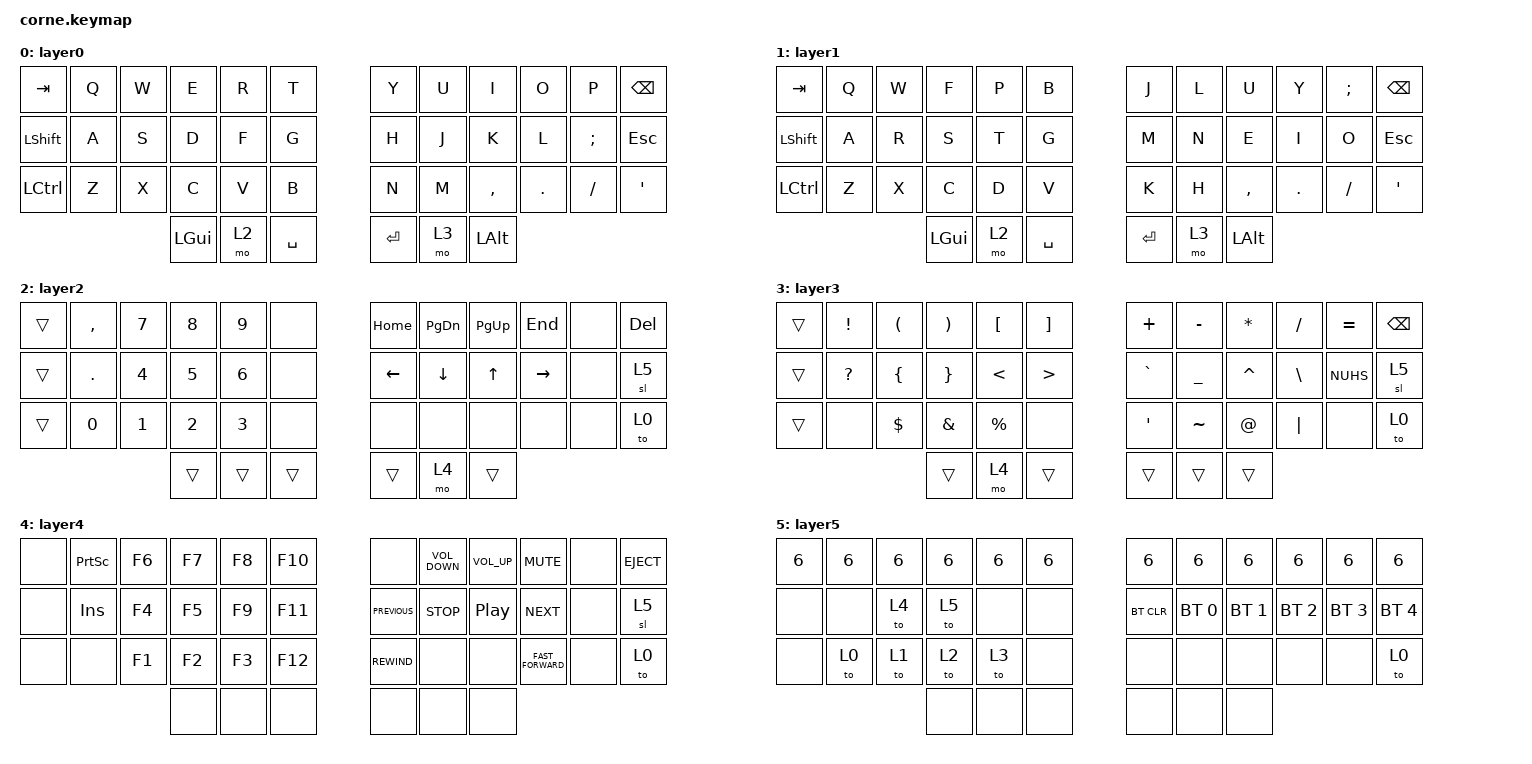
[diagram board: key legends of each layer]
/*
 * Copyright (c) 2020 The ZMK Contributors
 *
 * SPDX-License-Identifier: MIT
 */

#include <behaviors.dtsi>
#include <dt-bindings/zmk/bt.h>
#include <dt-bindings/zmk/ext_power.h>
#include <dt-bindings/zmk/keys.h>
#include <dt-bindings/zmk/mouse.h>
#include <dt-bindings/zmk/outputs.h>

 
&mmv {    
        time-to-max-speed-ms = <500>;
        acceleration-exponent=<1>;
};
&mwh {    
        time-to-max-speed-ms = <2000>;
        acceleration-exponent=<0>;
}; 
/ {
        combos{
                compatible = "zmk,combos";
                combo_spc {
                        timeout-ms = <50>;
                        key-positions = <13 16>;
                        bindings = <&kp SPACE>;
                        layers = <7>;
                };
                combo_p {
                        timeout-ms = <50>;
                        key-positions = <1 2>;
                        bindings = <&kp P>;
                        layers = <7>;
                };
                combo_o {
                        timeout-ms = <50>;
                        key-positions = <2 3>;
                        bindings = <&kp O>;
                        layers = <7>;
                };
                combo_h {
                        timeout-ms = <50>;
                        key-positions = <2 4>;
                        bindings = <&kp H>;
                        layers = <7>;
                };
                combo_k {
                        timeout-ms = <50>;
                        key-positions = <3 4>;
                        bindings = <&kp K>;
                        layers = <7>;
                };
                combo_y {
                        timeout-ms = <50>;
                        key-positions = <1 4>;
                        bindings = <&kp Y>;
                        layers = <7>;
                };
                combo_u {
                        timeout-ms = <50>;
                        key-positions = <13 15>;
                        bindings = <&kp U>;
                        layers = <7>;
                };
                combo_l {
                        timeout-ms = <50>;
                        key-positions = <25 26>;
                        bindings = <&kp L>;
                        layers = <7>;
                };
                combo_meta {
                        timeout-ms = <50>;
                        key-positions = <15 16>;
                        bindings = <&to LGUI>;
                        layers = <7>;
                };
                combo_alt {
                        timeout-ms = <50>;
                        key-positions = <14 16>;
                        bindings = <&to LALT>;
                        layers = <7>;
                };
                combo_bksp {
                        timeout-ms = <50>;
                        key-positions = <15 28>;
                        bindings = <&kp BSPC>;
                        layers = <7>;
                };
                combo_del {
                        timeout-ms = <50>;
                        key-positions = <16 27>;
                        bindings = <&kp DEL>;
                        layers = <7>;
                };
                combo_n {
                        timeout-ms = <50>;
                        key-positions = <26 27>;
                        bindings = <&kp N>;
                        layers = <7>;
                };
                combo_i {
                        timeout-ms = <50>;
                        key-positions = <27 28>;
                        bindings = <&kp I>;
                        layers = <7>;
                };
                combo_j {
                        timeout-ms = <50>;
                        key-positions = <26 28>;
                        bindings = <&kp J>;
                        layers = <7>;
                };
                combo_m {
                        timeout-ms = <50>;
                        key-positions = <25 28>;
                        bindings = <&kp M>;
                        layers = <7>;
                };
        };
};
/ {
        behaviors {
                mtt: mod_tap_tap {
                        compatible = "zmk,behavior-hold-tap";
                        label = "MOD_TAP_TAP";
                        #binding-cells = <2>;
                        flavor = "tap-preferred"; //was hold-preferred
                        tapping-term-ms = <150>;
                        quick-tap-ms = <200>;
                        bindings = <&kp>, <&kp>;
                };
                ltt: layer_tap_tap {
                        compatible = "zmk,behavior-hold-tap";
                        label = "LAYER_TAP_TAP";
                        #binding-cells = <2>;
                        flavor = "hold-preferred"; 
                        tapping-term-ms = <400>;
                        quick-tap-ms = <200>;
                        bindings = <&mo>, <&kp>;
                };                
        };

    keymap {
      compatible = "zmk,keymap";
  layer0 {
          bindings = <
          &kp TAB          &kp Q &kp W &kp E &kp R &kp T      &kp Y &kp U &kp I &kp O &kp P &kp BACKSPACE 
          &kp LEFT_SHIFT   &kp A &kp S &kp D &kp F &kp G      &kp H &kp J &kp K &kp L &kp SEMICOLON &kp ESCAPE 
          &kp LEFT_CONTROL &kp Z &kp X &kp C &kp V &kp B      &kp N &kp M &kp COMMA &kp DOT &kp SLASH &kp SINGLE_QUOTE 
                            &kp LEFT_GUI &mo 2 &kp SPACE      &kp ENTER &mo 3 &kp LEFT_ALT
          >;
        };layer1 {
          bindings = <
          &kp TAB          &kp Q &kp W &kp F &kp P &kp B      &kp J &kp L &kp U     &kp Y   &kp SEMICOLON &kp BACKSPACE 
          &kp LEFT_SHIFT   &kp A &kp R &kp S &kp T &kp G      &kp M &kp N &kp E     &kp I   &kp O         &kp ESCAPE 
          &kp LEFT_CONTROL &kp Z &kp X &kp C &kp D &kp V      &kp K &kp H &kp COMMA &kp DOT &kp SLASH     &kp SINGLE_QUOTE 
                            &kp LEFT_GUI &mo 2 &kp SPACE      &kp ENTER &mo 3 &kp LEFT_ALT
          >;
        };layer2 {
          bindings = <
          &trans &kp COMMA &kp N7 &kp N8 &kp N9 &none         &kp HOME &kp PAGE_DOWN &kp PAGE_UP &kp END   &none &kp DELETE  
          &trans &kp DOT   &kp N4 &kp N5 &kp N6 &none         &kp LEFT &kp DOWN      &kp UP      &kp RIGHT &none &sl 5  
          &trans &kp N0    &kp N1 &kp N2 &kp N3 &none         &none &none &none &none &none &to 0 
                                 &trans &trans &trans         &trans &mo 4 &trans
          >;
        };layer3 {
          bindings = <
          &trans &kp EXCL  &kp LPAR &kp RPAR &kp LBKT  &kp RBKT        &kp PLUS         &kp MINUS &kp ASTRK &kp SLASH     &kp EQUAL &kp BACKSPACE
          &trans &kp QMARK &kp LBRC &kp RBRC &kp LT    &kp GT          &kp GRAVE        &kp UNDER &kp CARET &kp BACKSLASH &kp NUHS  &sl 5
          &trans &none     &kp DLLR &kp AMPS &kp PRCNT &none           &kp SINGLE_QUOTE &kp TILDE &kp AT    &kp PIPE      &none     &to 0 
                                          &trans &mo 4 &trans          &trans &trans &trans
          >;
        };layer4 {
          bindings = <
          &none &kp PRINTSCREEN &kp F6 &kp F7 &kp F8 &kp F10       &none          &kp C_VOLUME_DOWN &kp C_VOLUME_UP  &kp C_MUTE         &none &kp C_EJECT
          &none &kp INSERT      &kp F4 &kp F5 &kp F9 &kp F11       &kp C_PREVIOUS &kp C_STOP        &kp C_PLAY_PAUSE &kp C_NEXT         &none &sl 5
          &none &none           &kp F1 &kp F2 &kp F3 &kp F12       &kp C_REWIND   &none             &none            &kp C_FAST_FORWARD &none &to 0
                                          &none &none &none        &none &none &none
          >;
        };layer5 {
          bindings = <
          &kp N6 &kp N6 &kp N6 &kp N6 &kp N6 &kp N6             &kp N6     &kp N6       &kp N6       &kp N6       &kp N6       &kp N6 
          &none  &none  &to 4  &to 5  &none  &none              &bt BT_CLR &bt BT_SEL 0 &bt BT_SEL 1 &bt BT_SEL 2 &bt BT_SEL 3 &bt BT_SEL 4
          &none  &to 0  &to 1  &to 2  &to 3  &none              &none      &none        &none        &none        &none        &to 0 
                                 &none &none &none              &none &none &none
          >;
        };
    };
  };

